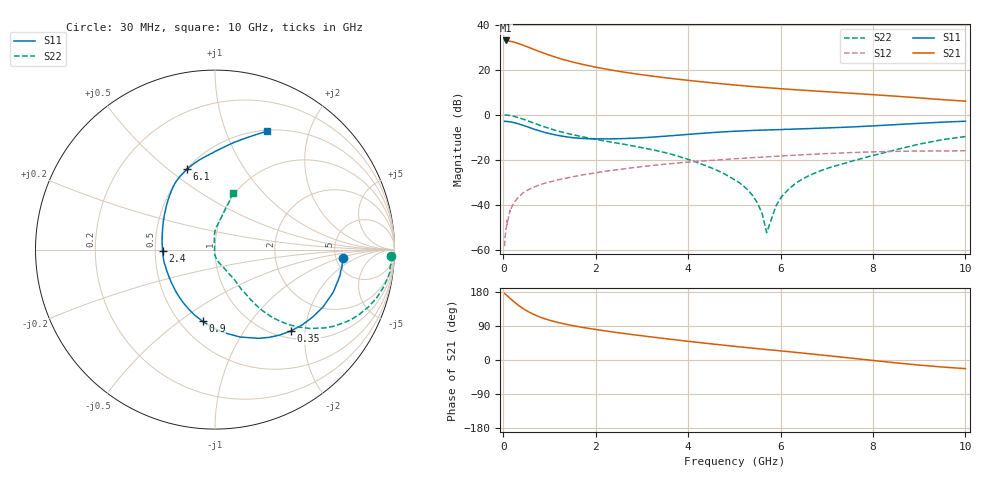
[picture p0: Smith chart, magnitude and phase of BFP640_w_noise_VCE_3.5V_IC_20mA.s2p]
! (c) 2013  Infineon Technologies AG, Munich
! Infineon Technologies  Discrete & RF Semiconductors
! BFP640
! VCE =  3.5 V,  IC =  20 mA
! Common Emitter S-Parameters:  Apr 2013
# GHz  S  MA  R  50
!  f  S11  S21  S12  S22
! GHz  MAG  ANG  MAG  ANG  MAG  ANG  MAG  ANG
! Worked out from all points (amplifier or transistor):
!   99 points, 30 MHz to 10 GHz, reference 50 ohm
!   highest |S21| = 33.0 dB at 50 MHz (marker M1)
!   |S21| within 3 dB of that: start of sweep to 542.7 MHz
!   unconditionally stable (mu >= 1): 2.742 GHz to end of sweep
!   at 350 MHz: K = 0.28, MSG = 33.9 dB, |S12| = -36.4 dB
!   at 3.5 GHz: K = 1.04, MAG = 18.0 dB, |S12| = -22.0 dB
!   at 10 GHz: K = 1.07, MAG = 9.4 dB, |S12| = -16.0 dB
!   lowest NFmin = 0.85 dB at 450 MHz
!   S11 on the Smith chart (normalised r, x): 30 MHz: 5.78, -1.15; 350 MHz: 1.15, -1.69; 900 MHz: 0.64, -0.61; 2.4 GHz: 0.55, -0.01; 6.1 GHz: 0.50, +0.58; 10 GHz: 0.51, +1.40
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0.03  0.715 -3.9  44.77 175.5  0.0012 81.2  0.9821 -2.0
0.05  0.7131 -6.9  44.87 173.5  0.0023 69.3  0.9853 -3.9
0.11  0.7045 -15.5  43.95 166.8  0.0048 80.1  0.9765 -9.2
0.2  0.6816 -27.9  41.92 157.1  0.0097 77.1  0.9393 -16.7
0.25  0.6614 -34.6  40.79 151.9  0.0118 75.4  0.9124 -20.5
0.35  0.62 -46.9  37.69 142.6  0.0152 70.1  0.8514 -27.4
0.45  0.5737 -58.5  34.58 134.2  0.0192 67.1  0.7852 -33.0
0.6  0.5066 -74.0  30.12 123.8  0.023 62.7  0.6894 -39.6
0.7  0.4676 -83.2  27.43 118.1  0.0256 61.3  0.6324 -43.0
0.9  0.405 -99.9  23.01 108.8  0.0301 58.2  0.5355 -47.9
1  0.3826 -107.1  21.14 105.1  0.032 57.5  0.4962 -49.7
1.2  0.3453 -120.6  18.16 98.6  0.0361 55.9  0.4314 -52.1
1.4  0.32 -132.8  15.87 93.2  0.0398 55.0  0.3827 -53.5
1.7  0.2982 -148.9  13.32 86.4  0.0457 53.2  0.3268 -54.6
2.4  0.2921 -178.6  9.636 73.5  0.0588 49.5  0.2411 -56.7
3.4  0.3288 151.0  6.867 58.0  0.0778 42.8  0.1521 -60.2
5.1  0.4351 120.1  4.508 34.9  0.1066 29.0  0.0313 -90.4
5.7  0.4586 113.4  4.004 27.6  0.116 24.4  0.0024 -170.4
6.1  0.4741 109.5  3.738 22.9  0.1229 21.1  0.0185 96.3
6.7  0.497 102.8  3.402 15.5  0.1325 15.7  0.0484 94.1
8.5  0.6048 80.2  2.584 -7.6  0.1538 -1.8  0.1676 80.5
10  0.7191 66.4  2.005 -22.8  0.1584 -13.5  0.3282 72.7
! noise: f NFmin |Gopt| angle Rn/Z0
0.45  0.85  0.13  6  0.02
0.9  0.85  0.13  14  0.03
1.5  0.88  0.1  26  0.04
1.9  0.9  0.14  -134  0.05
2.4  0.94  0.19  -119  0.06
3.5  1.06  0.24  -104  0.08
5.5  1.25  0.25  -96  0.15
10  1.74  0.58  -55  0.46
